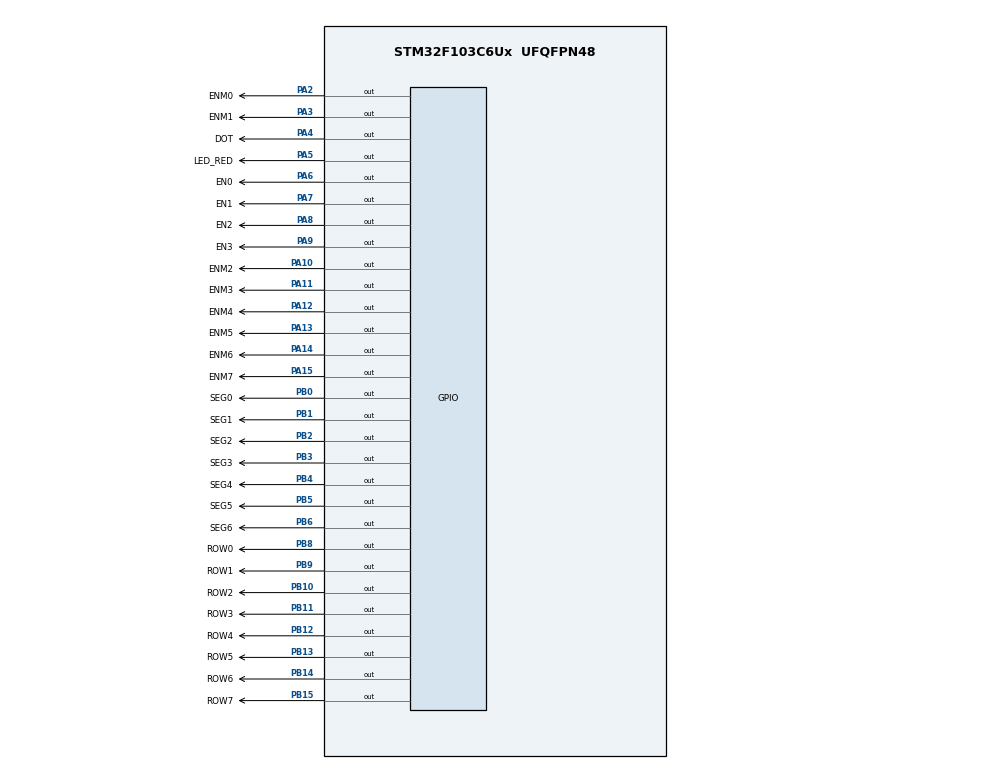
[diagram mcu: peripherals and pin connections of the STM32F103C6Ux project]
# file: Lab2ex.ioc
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Mcu.Family=STM32F1
Mcu.Name=STM32F103C6Ux
Mcu.Package=UFQFPN48
NVIC.PriorityGroup=NVIC_PRIORITYGROUP_4
NVIC.TIM2_IRQn=true\:0\:0\:false\:false\:true\:true\:true
PA10.GPIO_Label=ENM2
PA10.Signal=GPIO_Output
PA11.GPIO_Label=ENM3
PA11.Signal=GPIO_Output
PA12.GPIO_Label=ENM4
PA12.Signal=GPIO_Output
PA13.GPIO_Label=ENM5
PA13.Signal=GPIO_Output
PA14.GPIO_Label=ENM6
PA14.Signal=GPIO_Output
PA15.GPIO_Label=ENM7
PA15.Signal=GPIO_Output
PA2.GPIO_Label=ENM0
PA2.Signal=GPIO_Output
PA3.GPIO_Label=ENM1
PA3.Signal=GPIO_Output
PA4.GPIO_Label=DOT
PA4.Signal=GPIO_Output
PA5.GPIO_Label=LED_RED
PA5.Signal=GPIO_Output
PA6.GPIO_Label=EN0
PA6.Signal=GPIO_Output
PA7.GPIO_Label=EN1
PA7.Signal=GPIO_Output
PA8.GPIO_Label=EN2
PA8.Signal=GPIO_Output
PA9.GPIO_Label=EN3
PA9.Signal=GPIO_Output
PB0.GPIO_Label=SEG0
PB0.Signal=GPIO_Output
PB1.GPIO_Label=SEG1
PB1.Signal=GPIO_Output
PB10.GPIO_Label=ROW2
PB10.Signal=GPIO_Output
PB11.GPIO_Label=ROW3
PB11.Signal=GPIO_Output
PB12.GPIO_Label=ROW4
PB12.Signal=GPIO_Output
PB13.GPIO_Label=ROW5
PB13.Signal=GPIO_Output
PB14.GPIO_Label=ROW6
PB14.Signal=GPIO_Output
PB15.GPIO_Label=ROW7
PB15.Signal=GPIO_Output
PB2.GPIO_Label=SEG2
PB2.Signal=GPIO_Output
PB3.GPIO_Label=SEG3
PB3.Signal=GPIO_Output
PB4.GPIO_Label=SEG4
PB4.Signal=GPIO_Output
PB5.GPIO_Label=SEG5
PB5.Signal=GPIO_Output
PB6.GPIO_Label=SEG6
PB6.Signal=GPIO_Output
PB8.GPIO_Label=ROW0
PB8.Signal=GPIO_Output
PB9.GPIO_Label=ROW1
PB9.Signal=GPIO_Output
ProjectManager.HeapSize=0x200
ProjectManager.StackSize=0x400
ProjectManager.TargetToolchain=STM32CubeIDE
RCC.APB1Freq_Value=8000000
RCC.APB2Freq_Value=8000000
TIM2.Period=9
TIM2.Prescaler=7999
VP_SYS_VS_ND.Mode=No_Debug
VP_TIM2_VS_ClockSourceINT.Mode=Internal
board=custom

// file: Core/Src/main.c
/* USER CODE BEGIN Header */
/**
  ******************************************************************************
  * @file           : main.c
  * @brief          : Main program body
  ******************************************************************************
  * @attention
  *
  * <h2><center>&copy; Copyright (c) 2026 STMicroelectronics.
  * All rights reserved.</center></h2>
  *
  * This software component is licensed by ST under BSD 3-Clause license,
  * the "License"; You may not use this file except in compliance with the
  * License. You may obtain a copy of the License at:
  *                        opensource.org/licenses/BSD-3-Clause
  *
  ******************************************************************************
  */
/* USER CODE END Header */
#include "main.h"

/* USER CODE BEGIN Includes */
#include "software_timer.h"
/* USER CODE END Includes */

TIM_HandleTypeDef htim2;

void SystemClock_Config(void);
static void MX_GPIO_Init(void);
static void MX_TIM2_Init(void);

/* USER CODE BEGIN 0 */
void display7SEG(int num) {
    // Mã Hex cho LED Common Anode từ 0 đến 9
    uint8_t seg7[10] = {0xC0, 0xF9, 0xA4, 0xB0, 0x99, 0x92, 0x82, 0xF8, 0x80, 0x90};

    if(num < 0 || num > 9) return;

    // Tách và xuất từng bit ra GPIOB (PB0 đến PB6)
    for(int i = 0; i < 7; i++) {
        // Chuẩn hóa thành kiểu GPIO_PinState
        GPIO_PinState state = ((seg7[num] >> i) & 0x01) ? GPIO_PIN_SET : GPIO_PIN_RESET;
        HAL_GPIO_WritePin(GPIOB, GPIO_PIN_0 << i, state);
    }
}
int hour = 15, minute = 8, second = 1;
const int MAX_LED_MATRIX = 8;
const int MAX_LED = 4;
int index_led = 0;
int led_buffer[4] = {1, 2, 3, 0}; // Mảng chứa 4 số cần hiển thị
void updateClockBuffer() {
    // Tách 2 chữ số của Gi�? (hour)
    // led_buffer[0] chứa hàng chục, led_buffer[1] chứa hàng đơn vị
    led_buffer[0] = hour / 10;
    led_buffer[1] = hour % 10;

    // Tách 2 chữ số của Phút (minute)
    // led_buffer[2] chứa hàng chục, led_buffer[3] chứa hàng đơn vị
    led_buffer[2] = minute / 10;
    led_buffer[3] = minute % 10;
}
void update7SEG(int index) {
    // Bước 1: TẮT TẤT CẢ các LED trước khi đổi số để chống bóng ma
    HAL_GPIO_WritePin(GPIOA, GPIO_PIN_6 | GPIO_PIN_7 | GPIO_PIN_8 | GPIO_PIN_9, GPIO_PIN_SET);

    // Bước 2: �?ẩy dữ liệu số từ led_buffer ra cụm chân GPIOB (PB0-PB6)
    display7SEG(led_buffer[index]);

    // Bước 3: Chỉ BẬT duy nhất con LED tại vị trí 'index'
    switch (index) {
        case 0:
            // Display the first 7SEG with led_buffer[0]
            HAL_GPIO_WritePin(GPIOA, GPIO_PIN_6, GPIO_PIN_RESET); // Kích dẫn EN0
            break;
        case 1:
            // Display the second 7SEG with led_buffer[1][cite: 22]
            HAL_GPIO_WritePin(GPIOA, GPIO_PIN_7, GPIO_PIN_RESET); // Kích dẫn EN1
            break;
        case 2:
            // Display the third 7SEG with led_buffer[2][cite: 22]
            HAL_GPIO_WritePin(GPIOA, GPIO_PIN_8, GPIO_PIN_RESET); // Kích dẫn EN2
            break;
        case 3:
            // Display the forth 7SEG with led_buffer[3][cite: 22]
            HAL_GPIO_WritePin(GPIOA, GPIO_PIN_9, GPIO_PIN_RESET); // Kích dẫn EN3
            break;
        default:
            break;
    }
}
int index_led_matrix = 0;
uint8_t matrix_buffer[8] = {0x00, 0x18, 0x24, 0x42, 0x7E, 0x42, 0x42, 0x00};
void updateLEDMatrix(int index) {
    // Bước 1: TẮT TẤT CẢ các cột (Kéo PA2, PA3, PA10->PA15 xuống mức 0)
    HAL_GPIO_WritePin(GPIOA, GPIO_PIN_2 | GPIO_PIN_3 | GPIO_PIN_10 | GPIO_PIN_11 |
                             GPIO_PIN_12 | GPIO_PIN_13 | GPIO_PIN_14 | GPIO_PIN_15, GPIO_PIN_RESET);

    // Bước 2: Xuất dữ liệu hàng (ROW) ra Port B (từ PB8 đến PB15)
    for(int i = 0; i < 8; i++) {
        GPIO_PinState state = ((matrix_buffer[index] >> i) & 0x01) ? GPIO_PIN_SET : GPIO_PIN_RESET;
        HAL_GPIO_WritePin(GPIOB, GPIO_PIN_8 << i, state); // Dịch bit bắt đầu từ PB8
    }

    // Bước 3: BẬT cột tương ứng bằng cách cấp mức 1 cho chân ENM tương ứng
    switch (index) {
        case 0: HAL_GPIO_WritePin(GPIOA, GPIO_PIN_2,  GPIO_PIN_SET); break; // ENM0
        case 1: HAL_GPIO_WritePin(GPIOA, GPIO_PIN_3,  GPIO_PIN_SET); break; // ENM1
        case 2: HAL_GPIO_WritePin(GPIOA, GPIO_PIN_10, GPIO_PIN_SET); break; // ENM2
        case 3: HAL_GPIO_WritePin(GPIOA, GPIO_PIN_11, GPIO_PIN_SET); break; // ENM3
        case 4: HAL_GPIO_WritePin(GPIOA, GPIO_PIN_12, GPIO_PIN_SET); break; // ENM4
        case 5: HAL_GPIO_WritePin(GPIOA, GPIO_PIN_13, GPIO_PIN_SET); break; // ENM5
        case 6: HAL_GPIO_WritePin(GPIOA, GPIO_PIN_14, GPIO_PIN_SET); break; // ENM6
        case 7: HAL_GPIO_WritePin(GPIOA, GPIO_PIN_15, GPIO_PIN_SET); break; // ENM7
        default: break;
    }
}
void shiftLeftMatrix() {
    // Duyệt qua từng hàng ngang một (từ hàng 0 đến hàng 7)
    for(int i = 0; i < 8; i++) {
        // Bước 1: Lấy bit ngoài cùng bên trái (bit 7) cất vào biến tạm
        uint8_t msb = (matrix_buffer[i] & 0x80) >> 7;

        // Bước 2: Dịch toàn bộ hàng sang trái 1 điểm ảnh,
        // sau đó nhét bit tạm (vừa bị rớt ra) vào lại vị trí ngoài cùng bên phải (bit 0)
        matrix_buffer[i] = (matrix_buffer[i] << 1) | msb;
    }
}
/* USER CODE END 0 */

int main(void)
{

  /* MCU Configuration--------------------------------------------------------*/

  /* Reset of all peripherals, Initializes the Flash interface and the Systick. */
  HAL_Init();

  /* Configure the system clock */
  SystemClock_Config();

  /* Initialize all configured peripherals */
  MX_GPIO_Init();
  MX_TIM2_Init();
  /* USER CODE BEGIN 2 */
  HAL_TIM_Base_Start_IT(&htim2);

    setTimer1(25);     // Hẹn giờ quét 4 LED 7 đoạn (1 Hz)
    setTimer2(25);    // Hẹn giờ đồng hồ và nháy DOT (1 giây)
    setTimer3(2);
    setTimer4(25);
    int led_status = 0;
  /* USER CODE END 2 */

  /* Infinite loop */
  /* USER CODE BEGIN WHILE */
  while (1)
  {

	  if(timer1_flag == 1) {
	            setTimer1(25);
	            update7SEG(index_led++);
	            if (index_led >= MAX_LED) {
	                index_led = 0;
	            }
	        }

	        // --- TÁC VỤ 2: Đồng hồ & nháy DOT  ---
	        if(timer2_flag == 1) {
	            setTimer2(1000);
	            HAL_GPIO_TogglePin(GPIOA, GPIO_PIN_4);

	            second++;
	            if (second >= 60) { second = 0; minute++; }
	            if (minute >= 60) { minute = 0; hour++; }
	            if (hour >= 24)   { hour = 0; }
	            updateClockBuffer();
	        }

	        // --- TÁC VỤ 3: Quét LED Matrix ---
	        if(timer3_flag == 1) {
	            setTimer3(2); // Cài lại thời gian quét 2ms

	            updateLEDMatrix(index_led_matrix++);

	            if(index_led_matrix >= MAX_LED_MATRIX) {
	                index_led_matrix = 0;
	            }
	  }
	        if(timer4_flag == 1) {
	                  setTimer4(25); // Đặt lại thời gian khung hình tiếp theo (có thể đổi 200 thành số khác để chỉnh tốc độ)

	                  shiftLeftMatrix(); // Cập nhật lại buffer
	              }
    /* USER CODE END WHILE */

  }
}

void SystemClock_Config(void)
{
  RCC_OscInitTypeDef RCC_OscInitStruct = {0};
  RCC_ClkInitTypeDef RCC_ClkInitStruct = {0};

  /** Initializes the RCC Oscillators according to the specified parameters
  * in the RCC_OscInitTypeDef structure.
  */
  RCC_OscInitStruct.OscillatorType = RCC_OSCILLATORTYPE_HSI;
  RCC_OscInitStruct.HSIState = RCC_HSI_ON;
  RCC_OscInitStruct.HSICalibrationValue = RCC_HSICALIBRATION_DEFAULT;
  RCC_OscInitStruct.PLL.PLLState = RCC_PLL_NONE;
  if (HAL_RCC_OscConfig(&RCC_OscInitStruct) != HAL_OK)
  {
    Error_Handler();
  }
  /** Initializes the CPU, AHB and APB buses clocks
  */
  RCC_ClkInitStruct.ClockType = RCC_CLOCKTYPE_HCLK|RCC_CLOCKTYPE_SYSCLK
                              |RCC_CLOCKTYPE_PCLK1|RCC_CLOCKTYPE_PCLK2;
  RCC_ClkInitStruct.SYSCLKSource = RCC_SYSCLKSOURCE_HSI;
  RCC_ClkInitStruct.AHBCLKDivider = RCC_SYSCLK_DIV1;
  RCC_ClkInitStruct.APB1CLKDivider = RCC_HCLK_DIV1;
  RCC_ClkInitStruct.APB2CLKDivider = RCC_HCLK_DIV1;

  if (HAL_RCC_ClockConfig(&RCC_ClkInitStruct, FLASH_LATENCY_0) != HAL_OK)
  {
    Error_Handler();
  }
}

static void MX_TIM2_Init(void)
{

  TIM_ClockConfigTypeDef sClockSourceConfig = {0};
  TIM_MasterConfigTypeDef sMasterConfig = {0};

  htim2.Instance = TIM2;
  htim2.Init.Prescaler = 7999;
  htim2.Init.CounterMode = TIM_COUNTERMODE_UP;
  htim2.Init.Period = 9;
  htim2.Init.ClockDivision = TIM_CLOCKDIVISION_DIV1;
  htim2.Init.AutoReloadPreload = TIM_AUTORELOAD_PRELOAD_DISABLE;
  if (HAL_TIM_Base_Init(&htim2) != HAL_OK)
  {
    Error_Handler();
  }
  sClockSourceConfig.ClockSource = TIM_CLOCKSOURCE_INTERNAL;
  if (HAL_TIM_ConfigClockSource(&htim2, &sClockSourceConfig) != HAL_OK)
  {
    Error_Handler();
  }
  sMasterConfig.MasterOutputTrigger = TIM_TRGO_RESET;
  sMasterConfig.MasterSlaveMode = TIM_MASTERSLAVEMODE_DISABLE;
  if (HAL_TIMEx_MasterConfigSynchronization(&htim2, &sMasterConfig) != HAL_OK)
  {
    Error_Handler();
  }

}

static void MX_GPIO_Init(void)
{
  GPIO_InitTypeDef GPIO_InitStruct = {0};

  /* GPIO Ports Clock Enable */
  __HAL_RCC_GPIOA_CLK_ENABLE();
  __HAL_RCC_GPIOB_CLK_ENABLE();

  /*Configure GPIO pin Output Level */
  HAL_GPIO_WritePin(GPIOA, ENM0_Pin|ENM1_Pin|DOT_Pin|LED_RED_Pin
                          |EN0_Pin|EN1_Pin|EN2_Pin|EN3_Pin
                          |ENM2_Pin|ENM3_Pin|ENM4_Pin|ENM5_Pin
                          |ENM6_Pin|ENM7_Pin, GPIO_PIN_RESET);

  /*Configure GPIO pin Output Level */
  HAL_GPIO_WritePin(GPIOB, SEG0_Pin|SEG1_Pin|SEG2_Pin|ROW2_Pin
                          |ROW3_Pin|ROW4_Pin|ROW5_Pin|ROW6_Pin
                          |ROW7_Pin|SEG3_Pin|SEG4_Pin|SEG5_Pin
                          |SEG6_Pin|ROW0_Pin|ROW1_Pin, GPIO_PIN_RESET);

  /*Configure GPIO pins : ENM0_Pin ENM1_Pin DOT_Pin LED_RED_Pin
                           EN0_Pin EN1_Pin EN2_Pin EN3_Pin
                           ENM2_Pin ENM3_Pin ENM4_Pin ENM5_Pin
                           ENM6_Pin ENM7_Pin */
  GPIO_InitStruct.Pin = ENM0_Pin|ENM1_Pin|DOT_Pin|LED_RED_Pin
                          |EN0_Pin|EN1_Pin|EN2_Pin|EN3_Pin
                          |ENM2_Pin|ENM3_Pin|ENM4_Pin|ENM5_Pin
                          |ENM6_Pin|ENM7_Pin;
  GPIO_InitStruct.Mode = GPIO_MODE_OUTPUT_PP;
  GPIO_InitStruct.Pull = GPIO_NOPULL;
  GPIO_InitStruct.Speed = GPIO_SPEED_FREQ_LOW;
  HAL_GPIO_Init(GPIOA, &GPIO_InitStruct);

  /*Configure GPIO pins : SEG0_Pin SEG1_Pin SEG2_Pin ROW2_Pin
                           ROW3_Pin ROW4_Pin ROW5_Pin ROW6_Pin
                           ROW7_Pin SEG3_Pin SEG4_Pin SEG5_Pin
                           SEG6_Pin ROW0_Pin ROW1_Pin */
  GPIO_InitStruct.Pin = SEG0_Pin|SEG1_Pin|SEG2_Pin|ROW2_Pin
                          |ROW3_Pin|ROW4_Pin|ROW5_Pin|ROW6_Pin
                          |ROW7_Pin|SEG3_Pin|SEG4_Pin|SEG5_Pin
                          |SEG6_Pin|ROW0_Pin|ROW1_Pin;
  GPIO_InitStruct.Mode = GPIO_MODE_OUTPUT_PP;
  GPIO_InitStruct.Pull = GPIO_NOPULL;
  GPIO_InitStruct.Speed = GPIO_SPEED_FREQ_LOW;
  HAL_GPIO_Init(GPIOB, &GPIO_InitStruct);

}

/* USER CODE BEGIN 4 */
void HAL_TIM_PeriodElapsedCallback(TIM_HandleTypeDef *htim) {
	if(htim->Instance == TIM2) {
	        timerRun(); // Chỉ cập nhật các Software Timer chạy ngầm. XONG!
	    }
}
/* USER CODE END 4 */

void Error_Handler(void)
{
  __disable_irq();
  while (1)
  {
  }
}

/************************ (C) COPYRIGHT STMicroelectronics *****END OF FILE****/
